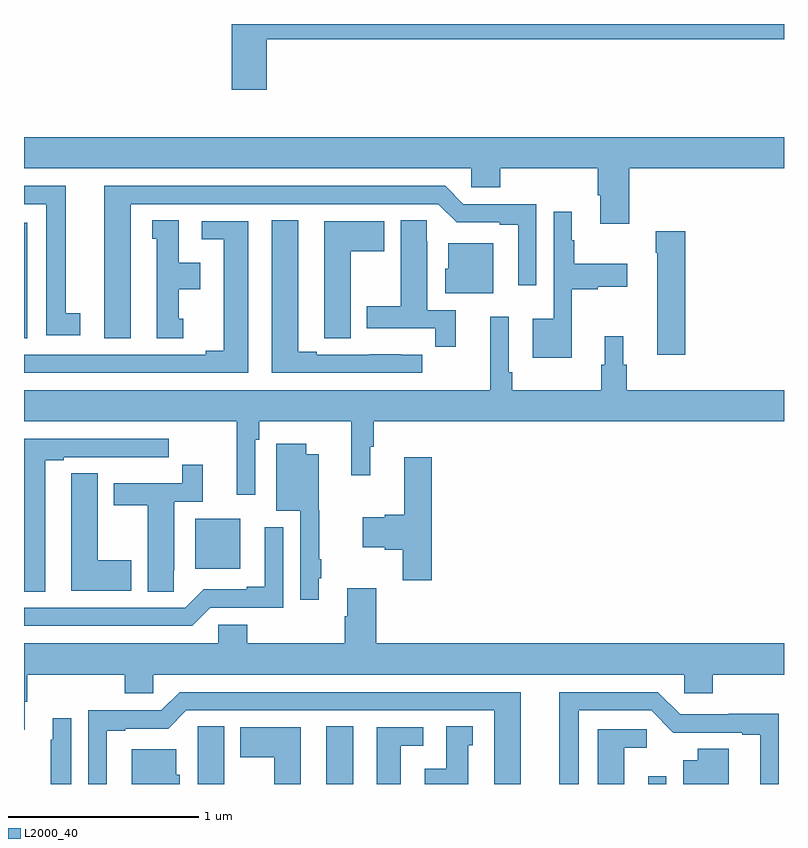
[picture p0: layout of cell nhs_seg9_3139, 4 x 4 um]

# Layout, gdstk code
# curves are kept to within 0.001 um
import gdstk
lib = gdstk.Library(unit=1e-6, precision=1e-09)
def R(c, l, rs):  # rectangles x0, y0, x1, y1
    for r in rs: c.add(gdstk.rectangle(r[:2], r[2:], *l))
def P(c, l, *ps):  # polygons
    for p in ps: c.add(gdstk.Polygon(p, *l))
L2000_40 = (2000, 40)

nhs_seg9_3139 = lib.new_cell('nhs_seg9_3139')
R(nhs_seg9_3139, L2000_40, [(292.592,1206.5,292.732,1206.803), (294.285,1206.5,294.381,1206.541), (291.902,1207.634,292.138,1207.897), (291,1208.845,291.016,1209.453)])
P(nhs_seg9_3139, L2000_40, [(292.277,1210.42),(295,1210.42),(295,1210.5),(292.094,1210.5),(292.094,1210.155),(292.277,1210.155)],
  [(294.185,1209.74),(295,1209.74),(295,1209.904),(291,1209.904),(291,1209.74),(293.355,1209.74),(293.355,1209.642),(293.507,1209.642),(293.507,1209.74),(294.02,1209.74),(294.02,1209.598),(294.032,1209.598),(294.032,1209.45),(294.185,1209.45)],
  [(291.295,1208.978),(291.22,1208.978),(291.22,1209.648),(291,1209.648),(291,1209.552),(291.116,1209.552),(291.116,1208.862),(291.295,1208.862)],
  [(291.562,1209.552),(293.181,1209.552),(293.277,1209.456),(293.504,1209.456),(293.504,1209.444),(293.6,1209.444),(293.6,1209.126),(293.697,1209.126),(293.697,1209.552),(293.313,1209.552),(293.217,1209.648),(291.422,1209.648),(291.422,1208.847),(291.562,1208.847)],
  [(293.884,1209.104),(294.021,1209.104),(294.021,1209.116),(294.175,1209.116),(294.175,1209.238),(293.896,1209.238),(293.896,1209.362),(293.884,1209.362),(293.884,1209.511),(293.787,1209.511),(293.787,1208.95),(293.678,1208.95),(293.678,1208.744),(293.884,1208.744)],
  [(293.273,1208.994),(293.122,1208.994),(293.122,1209.356),(293.121,1209.356),(293.121,1209.467),(292.982,1209.467),(292.982,1209.015),(292.805,1209.015),(292.805,1208.898),(293.164,1208.898),(293.164,1208.802),(293.273,1208.802)],
  [(293.095,1208.76),(292.982,1208.76),(292.982,1208.761),(292.816,1208.761),(292.816,1208.76),(292.54,1208.76),(292.54,1208.775),(292.444,1208.775),(292.444,1209.467),(292.304,1209.467),(292.304,1208.664),(293.095,1208.664)],
  [(291.838,1208.949),(291.814,1208.949),(291.814,1209.104),(291.928,1209.104),(291.928,1209.244),(291.814,1209.244),(291.814,1209.467),(291.674,1209.467),(291.674,1209.369),(291.698,1209.369),(291.698,1208.847),(291.838,1208.847)],
  [(292.72,1209.304),(292.897,1209.304),(292.897,1209.463),(292.58,1209.463),(292.58,1208.953),(292.581,1208.953),(292.581,1208.845),(292.72,1208.845)],
  [(292.18,1209.462),(291.936,1209.462),(291.936,1209.366),(292.052,1209.366),(292.052,1208.78),(291.956,1208.78),(291.956,1208.76),(291,1208.76),(291,1208.664),(292.18,1208.664)],
  [(294.479,1209.409),(294.325,1209.409),(294.325,1209.296),(294.332,1209.296),(294.332,1208.76),(294.479,1208.76)],
  [(293.47,1209.346),(293.234,1209.346),(293.234,1209.213),(293.216,1209.213),(293.216,1209.083),(293.47,1209.083)],
  [(292.218,1208.312),(292.238,1208.312),(292.238,1208.408),(292.723,1208.408),(292.723,1208.124),(292.822,1208.124),(292.822,1208.274),(292.841,1208.274),(292.841,1208.408),(295,1208.408),(295,1208.572),(294.173,1208.572),(294.173,1208.706),(294.154,1208.706),(294.154,1208.857),(294.056,1208.857),(294.056,1208.706),(294.037,1208.706),(294.037,1208.572),(293.57,1208.572),(293.57,1208.668),(293.55,1208.668),(293.55,1208.959),(293.453,1208.959),(293.453,1208.572),(291,1208.572),(291,1208.408),(292.121,1208.408),(292.121,1208.022),(292.218,1208.022)],
  [(291.112,1208.205),(291.208,1208.205),(291.208,1208.22),(291.484,1208.22),(291.484,1208.219),(291.65,1208.219),(291.65,1208.22),(291.763,1208.22),(291.763,1208.316),(291,1208.316),(291,1207.513),(291.112,1207.513)],
  [(292.552,1207.582),(292.564,1207.582),(292.564,1207.682),(292.554,1207.682),(292.554,1207.941),(292.552,1207.941),(292.552,1208.236),(292.486,1208.236),(292.486,1208.29),(292.328,1208.29),(292.328,1207.937),(292.455,1207.937),(292.455,1207.47),(292.552,1207.47)],
  [(293.147,1208.221),(293,1208.221),(293,1207.916),(292.899,1207.916),(292.899,1207.903),(292.782,1207.903),(292.782,1207.745),(292.899,1207.745),(292.899,1207.733),(292.993,1207.733),(292.993,1207.572),(293.147,1207.572)],
  [(291.789,1207.624),(291.79,1207.624),(291.79,1207.986),(291.941,1207.986),(291.941,1208.179),(291.832,1208.179),(291.832,1208.082),(291.473,1208.082),(291.473,1207.966),(291.65,1207.966),(291.65,1207.513),(291.789,1207.513)],
  [(291.565,1207.677),(291.388,1207.677),(291.388,1208.135),(291.249,1208.135),(291.249,1208.027),(291.248,1208.027),(291.248,1207.517),(291.565,1207.517)],
  [(291.981,1207.428),(292.365,1207.428),(292.365,1207.852),(292.268,1207.852),(292.268,1207.537),(292.172,1207.537),(292.172,1207.524),(291.945,1207.524),(291.849,1207.428),(291,1207.428),(291,1207.332),(291.885,1207.332)],
  [(291,1206.786),(291.004,1206.786),(291.004,1206.934),(291.017,1206.934),(291.017,1207.076),(291.53,1207.076),(291.53,1206.978),(291.681,1206.978),(291.681,1207.076),(294.474,1207.076),(294.474,1206.978),(294.626,1206.978),(294.626,1207.076),(295,1207.076),(295,1207.24),(292.853,1207.24),(292.853,1207.531),(292.7,1207.531),(292.7,1207.382),(292.688,1207.382),(292.688,1207.24),(292.175,1207.24),(292.175,1207.338),(292.023,1207.338),(292.023,1207.24),(291,1207.24)],
  [(293.92,1206.888),(294.3,1206.888),(294.418,1206.77),(294.779,1206.771),(294.779,1206.759),(294.875,1206.759),(294.875,1206.5),(294.972,1206.5),(294.972,1206.869),(294.709,1206.869),(294.709,1206.867),(294.453,1206.867),(294.336,1206.984),(293.816,1206.984),(293.816,1206.5),(293.92,1206.5)],
  [(291.436,1206.78),(291.532,1206.78),(291.532,1206.792),(291.759,1206.792),(291.855,1206.888),(293.474,1206.888),(293.474,1206.5),(293.614,1206.5),(293.614,1206.984),(291.819,1206.984),(291.723,1206.888),(291.339,1206.888),(291.339,1206.5),(291.436,1206.5)],
  [(291.249,1206.847),(291.152,1206.847),(291.152,1206.734),(291.141,1206.734),(291.141,1206.5),(291.249,1206.5)],
  [(293.338,1206.705),(293.362,1206.705),(293.362,1206.803),(293.222,1206.803),(293.222,1206.58),(293.108,1206.58),(293.108,1206.5),(293.338,1206.5)],
  [(292.054,1206.803),(291.915,1206.803),(291.915,1206.692),(291.914,1206.692),(291.914,1206.5),(292.054,1206.5)],
  [(292.456,1206.799),(292.139,1206.799),(292.139,1206.64),(292.316,1206.64),(292.316,1206.5),(292.456,1206.5)],
  [(292.984,1206.702),(293.101,1206.702),(293.101,1206.798),(292.856,1206.798),(292.856,1206.5),(292.984,1206.5)],
  [(294.16,1206.692),(294.277,1206.692),(294.277,1206.789),(294.02,1206.789),(294.02,1206.5),(294.16,1206.5)],
  [(294.709,1206.686),(294.545,1206.686),(294.545,1206.625),(294.47,1206.625),(294.47,1206.5),(294.709,1206.5)],
  [(291.82,1206.549),(291.802,1206.549),(291.802,1206.682),(291.566,1206.682),(291.566,1206.5),(291.82,1206.5)])

lib.write_gds('nhs_seg9_3139.gds')
